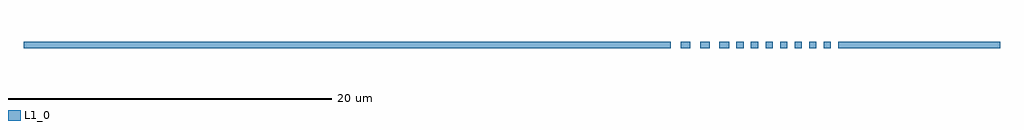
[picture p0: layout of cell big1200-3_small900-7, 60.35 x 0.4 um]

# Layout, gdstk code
import gdstk
lib = gdstk.Library(unit=1e-6, precision=1e-09)
def R(c, l, rs):  # rectangles x0, y0, x1, y1
    for r in rs: c.add(gdstk.rectangle(r[:2], r[2:], *l))
def A(c, l, x, y, w, h, nx, ny, dx, dy):  # array of equal rectangles
    R(c, l, [(x+i*dx, y+j*dy, x+i*dx+w, y+j*dy+h) for i in range(nx) for j in range(ny)])
L1_0 = (1, 0)

big1200_3_small900_7 = lib.new_cell('big1200-3_small900-7')
A(big1200_3_small900_7, L1_0, 0.6, 0, 0.6, 0.4, 3, 1, 1.2, 0)
A(big1200_3_small900_7, L1_0, 4.05, 0, 0.45, 0.4, 7, 1, 0.9, 0)
R(big1200_3_small900_7, L1_0, [(-40,0,0,0.4), (10.35,0,20.35,0.4)])

lib.write_gds('big1200-3_small900-7.gds')
